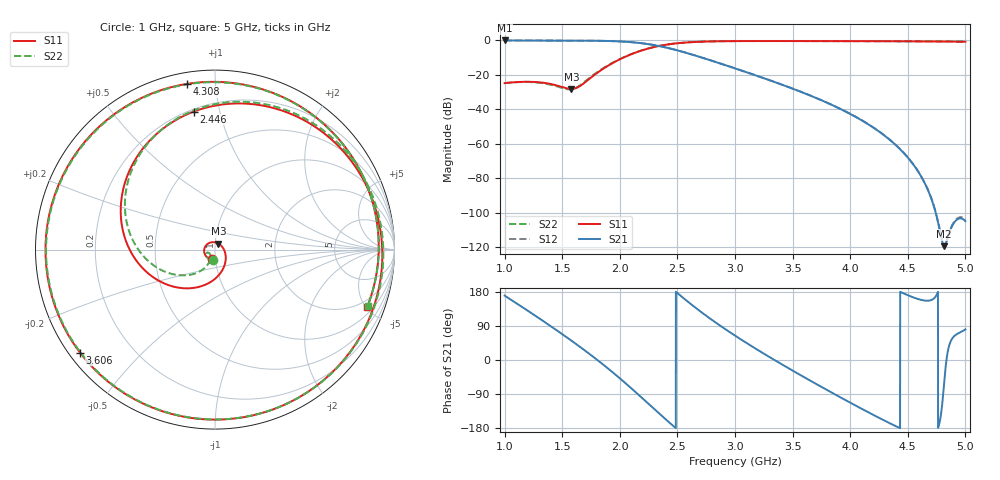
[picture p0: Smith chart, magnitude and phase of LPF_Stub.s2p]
! Touchstone file from project ECEN_425_Project2MELANIE
! Exported from Circuit Design 2017.1.0
# GHZ S MA R 50.000000
! Modal data exported
! Port[1] = 1
! Port[2] = 2
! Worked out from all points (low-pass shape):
!   4001 points, 1 GHz to 5 GHz, reference 50 ohm
!   highest |S21| = -0.13 dB at 1 GHz (marker M1); lowest = -119.5 dB at 4.816 GHz (marker M2)
!   |S21| within 3 dB of the highest: start of sweep to 2.323 GHz
!   lowest |S11| = -28.3 dB at 1.58 GHz (marker M3), VSWR 1.08, Z = 51.8 + j3.48 ohm
!   |S11| at or under -10 dB: start of sweep to 2.034 GHz
!   |S22| runs from -28.5 to -0.5 dB; largest |S21 - S12| = 0.00076
!   S11 on the Smith chart (normalised r, x): 1 GHz: 0.97, -0.11; 2.446 GHz: 0.21, +0.83; 3.606 GHz: 0.03, -0.34; 4.308 GHz: 0.06, +0.84; 5 GHz: 1.44, -5.12
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1  0.05685 -104.4  0.9846 169.9  0.9847 169.9  0.05692 -101.3
! Port Impedance50 0 50 0
1.147  0.0619 -139.9  0.9824 140.9  0.9826 140.9  0.06127 -125.7
1.317  0.05939 175.0  0.9802 106.5  0.9804 106.5  0.0574 -149.8
1.58  0.03852 60.6  0.9765 51.1  0.9769 51.1  0.03772 -139.6
1.667  0.05003 -0.5  0.9739 31.8  0.9743 31.8  0.05284 -118.5
1.861  0.1527 -85.6  0.9573 -13.4  0.9579 -13.4  0.1583 -126.9
2.058  0.3431 -147.1  0.9003 -63.4  0.901 -63.4  0.3485 -164.7
2.185  0.4976 174.7  0.8224 -97.9  0.8231 -97.9  0.5022 165.4
2.334  0.6736 130.6  0.6855 -139.1  0.6863 -139.1  0.6773 127.9
2.446  0.7781 98.8  0.5654 -169.3  0.5661 -169.3  0.7812 99.7
2.582  0.8627 62.7  0.4257 156.0  0.4263 156.0  0.8655 66.8
2.743  0.915 23.8  0.2914 118.3  0.292 118.3  0.9174 30.5
3  0.943 -31.3  0.1526 64.4  0.153 64.4  0.9444 -22.6
3.304  0.9473 -89.3  0.06836 6.9  0.06857 6.9  0.9467 -80.6
3.606  0.946 -142.7  0.02869 -46.4  0.02882 -46.4  0.9437 -135.7
3.667  0.9456 -153.1  0.02373 -56.8  0.02384 -56.8  0.9431 -146.7
3.963  0.943 157.0  0.008423 -106.5  0.008482 -106.5  0.9401 161.0
4.308  0.9365 99.6  0.001609 -161.5  0.001628 -161.6  0.9342 101.1
4.334  0.9358 95.2  0.001371 -165.5  0.001387 -165.5  0.9336 96.6
4.627  0.9252 45.7  9.538e-05 157.8  9.751e-05 157.8  0.9242 46.0
4.816  0.9161 12.8  1.055e-06 -58.8  1.095e-06 -59.0  0.9161 12.8
5  0.906 -20.6  5.623e-06 81.0  6.319e-06 79.0  0.9068 -20.4
